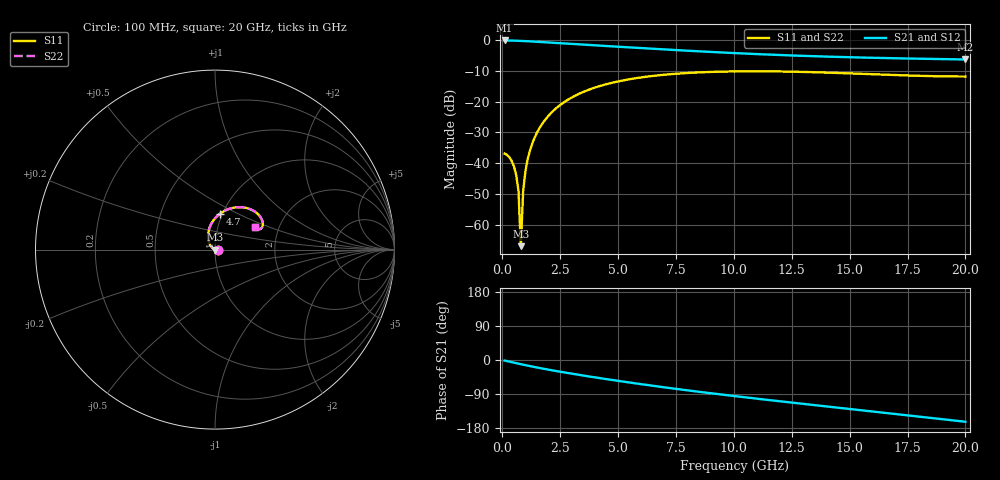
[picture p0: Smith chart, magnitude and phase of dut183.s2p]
! Created with skrf 1.9.0 (http://scikit-rf.org).
# GHz S RI R 50.0
!freq ReS11 ImS11 ReS21 ImS21 ReS12 ImS12 ReS22 ImS22
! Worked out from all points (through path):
!   200 points, 100 MHz to 20 GHz, reference 50 ohm
!   highest |S21| = -0.13 dB at 100 MHz (marker M1); lowest = -6.3 dB at 20 GHz (marker M2)
!   group delay of S21, straight-line fit = 21.4 ps
!   lowest |S11| = -66.9 dB at 800 MHz (marker M3), VSWR 1.00, Z = 50 - j0.0449 ohm
!   |S11| at or under -10 dB: start of sweep to end of sweep
!   |S22| runs from -66.9 to -10.1 dB; largest |S21 - S12| = 1.8e-15
!   S11 on the Smith chart (normalised r, x): 100 MHz: 1.03, -0.00; 4.7 GHz: 0.97, +0.40; 20 GHz: 1.50, +0.41
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0.1  0.0143 -0.000588  0.9848 -0.0245  0.9848 -0.0245  0.0143 -0.000588
0.3  0.0125 -0.00194  0.9801 -0.0726  0.9801 -0.0726  0.0125 -0.00194
0.4  0.0108 -0.00232  0.9761 -0.0962  0.9761 -0.0962  0.0108 -0.00232
0.5  0.00863 -0.00243  0.9712 -0.1193  0.9712 -0.1193  0.00863 -0.00243
0.6  0.00608 -0.00219  0.9653 -0.142  0.9653 -0.142  0.00608 -0.00219
0.7  0.0032 -0.00155  0.9586 -0.1642  0.9586 -0.1642  0.0032 -0.00155
0.8  4.14e-05 -0.000449  0.951 -0.1857  0.951 -0.1857  4.14e-05 -0.000449
0.9  -0.00331 0.00113  0.9428 -0.2066  0.9428 -0.2066  -0.00331 0.00113
1  -0.00679 0.0032  0.9339 -0.2269  0.9339 -0.2269  -0.00679 0.0032
1.1  -0.0103 0.00577  0.9245 -0.2465  0.9245 -0.2465  -0.0103 0.00577
1.3  -0.0173 0.0124  0.9042 -0.2838  0.9042 -0.2838  -0.0173 0.0124
1.6  -0.0266 0.0255  0.8709 -0.3348  0.8709 -0.3348  -0.0266 0.0255
1.8  -0.0316 0.036  0.8475 -0.3657  0.8475 -0.3657  -0.0316 0.036
2.1  -0.0367 0.0538  0.8113 -0.4078  0.8113 -0.4078  -0.0367 0.0538
2.7  -0.0376 0.0926  0.7364 -0.4793  0.7364 -0.4793  -0.0376 0.0926
3.5  -0.0215 0.1425  0.6349 -0.5531  0.6349 -0.5531  -0.0215 0.1425
4.7  0.0268 0.1991  0.4833 -0.6265  0.4833 -0.6265  0.0268 0.1991
6.8  0.1291 0.2363  0.2371 -0.6708  0.2371 -0.6708  0.1291 0.2363
10.1  0.2381 0.1988  -0.0615 -0.6093  -0.0615 -0.6093  0.2381 0.1988
13.4  0.2663 0.1409  -0.2613 -0.4811  -0.2613 -0.4811  0.2663 0.1409
16.7  0.248 0.1131  -0.3927 -0.323  -0.3927 -0.323  0.248 0.1131
20  0.2223 0.1269  -0.4628 -0.1416  -0.4628 -0.1416  0.2223 0.1269
